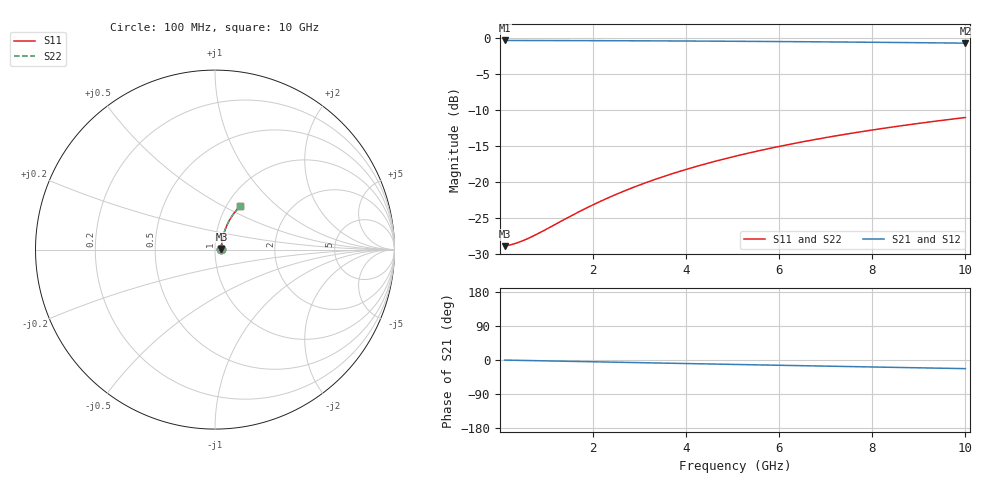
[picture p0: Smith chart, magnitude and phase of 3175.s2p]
# Hz S RI R 50.00
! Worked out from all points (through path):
!   100 points, 100 MHz to 10 GHz, reference 50 ohm
!   highest |S21| = -0.32 dB at 100 MHz (marker M1); lowest = -0.7 dB at 10 GHz (marker M2)
!   group delay of S21, straight-line fit = 6.34 ps
!   lowest |S11| = -28.9 dB at 100 MHz (marker M3), VSWR 1.07, Z = 53.7 + j0.301 ohm
!   |S11| at or under -10 dB: start of sweep to end of sweep
!   |S22| runs from -28.9 to -11.0 dB; largest |S21 - S12| = 0
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1e8  0.0357 0.0028  0.9643 -0.00394  0.9643 -0.00394  0.0357 0.0028
3e8  0.0362 0.00838  0.9638 -0.0118  0.9638 -0.0118  0.0362 0.00838
4e8  0.0364 0.0112  0.9636 -0.0158  0.9636 -0.0158  0.0364 0.0112
6e8  0.0368 0.0167  0.9631 -0.0236  0.9631 -0.0236  0.0368 0.0167
9e8  0.0376 0.0251  0.9623 -0.0354  0.9623 -0.0354  0.0376 0.0251
1.5e9  0.0396 0.0417  0.9602 -0.0589  0.9602 -0.0589  0.0396 0.0417
1.8e9  0.0409 0.0499  0.9589 -0.0706  0.9589 -0.0706  0.0409 0.0499
2.2e9  0.0428 0.0609  0.9568 -0.0861  0.9568 -0.0861  0.0428 0.0609
2.6e9  0.0451 0.0717  0.9544 -0.1016  0.9544 -0.1016  0.0451 0.0717
3e9  0.0478 0.0825  0.9516 -0.1169  0.9516 -0.1169  0.0478 0.0825
3.4e9  0.0508 0.0931  0.9484 -0.1321  0.9484 -0.1321  0.0508 0.0931
3.8e9  0.0541 0.1036  0.9449 -0.1473  0.9449 -0.1473  0.0541 0.1036
4.2e9  0.0577 0.114  0.9411 -0.1622  0.9411 -0.1622  0.0577 0.114
4.6e9  0.0616 0.1242  0.9369 -0.1771  0.9369 -0.1771  0.0616 0.1242
5.1e9  0.067 0.1368  0.9312 -0.1954  0.9312 -0.1954  0.067 0.1368
5.5e9  0.0716 0.1466  0.9263 -0.2099  0.9263 -0.2099  0.0716 0.1466
5.9e9  0.0766 0.1563  0.921 -0.2241  0.921 -0.2241  0.0766 0.1563
6.7e9  0.0873 0.175  0.9097 -0.2521  0.9097 -0.2521  0.0873 0.175
7.5e9  0.099 0.1929  0.8971 -0.2792  0.8971 -0.2792  0.099 0.1929
8.4e9  0.1134 0.2119  0.8817 -0.3086  0.8817 -0.3086  0.1134 0.2119
9.2e9  0.1271 0.2277  0.867 -0.3337  0.867 -0.3337  0.1271 0.2277
1e10  0.1417 0.2425  0.8515 -0.3579  0.8515 -0.3579  0.1417 0.2425
